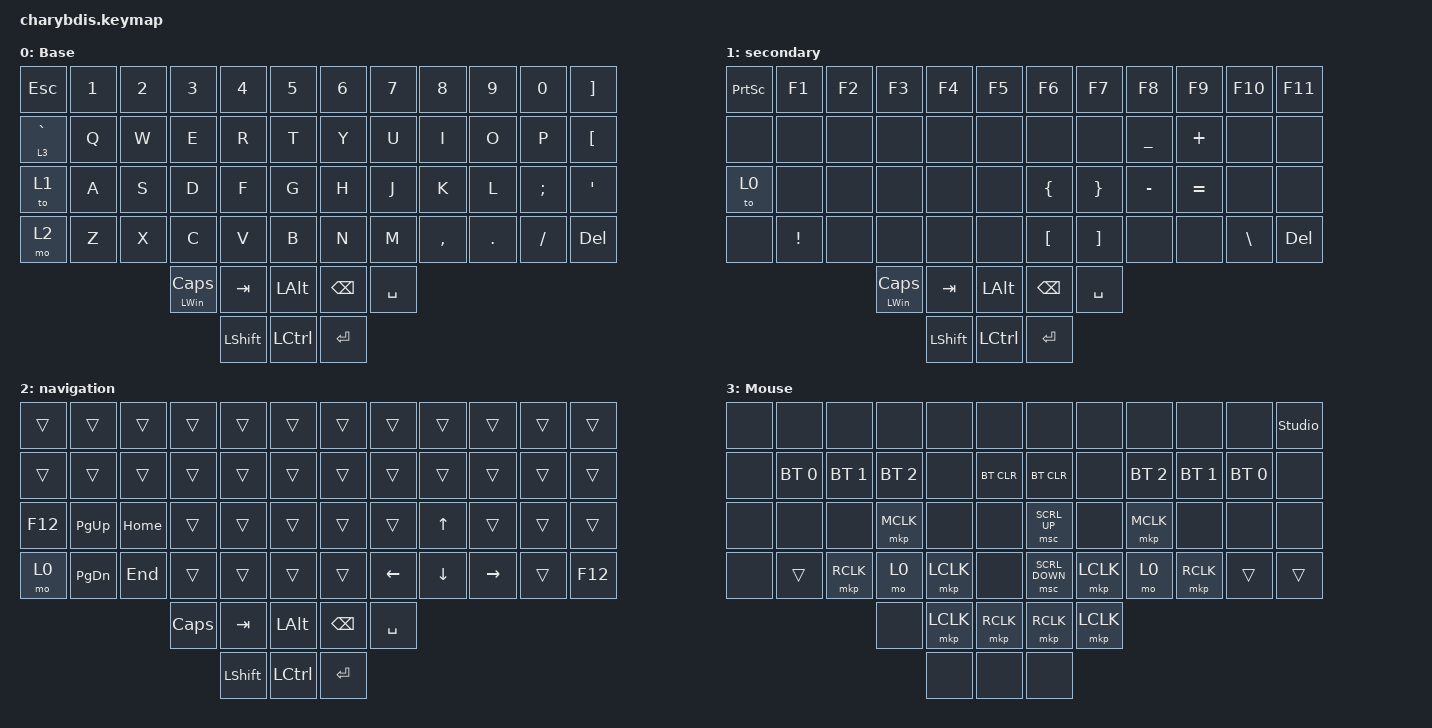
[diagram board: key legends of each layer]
#include <dt-bindings/zmk/mouse.h>
#include <behaviors.dtsi>
#include <dt-bindings/zmk/bt.h>
#include <dt-bindings/zmk/keys.h>
#include <dt-bindings/zmk/pointing.h>

&lt {
    tapping-term-ms = <200>;
    flavor = "balanced";
    quick-tap-ms = <150>;
};

/ {
    combos { compatible = "zmk,combos"; };

    keymap {
        compatible = "zmk,keymap";

        Base {
            bindings = <
&kp ESCAPE   &kp N1  &kp N2  &kp N3             &kp N4          &kp N5          &kp N6         &kp N7     &kp N8     &kp N9   &kp N0     &kp RIGHT_BRACKET
&lt 3 GRAVE  &kp Q   &kp W   &kp E              &kp R           &kp T           &kp Y          &kp U      &kp I      &kp O    &kp P      &kp LEFT_BRACKET
&to 1        &kp A   &kp S   &kp D              &kp F           &kp G           &kp H          &kp J      &kp K      &kp L    &kp SEMI   &kp APOS
&mo 2        &kp Z   &kp X   &kp C              &kp V           &kp B           &kp N          &kp M      &kp COMMA  &kp DOT  &kp SLASH  &kp DELETE
                             &mt LEFT_WIN CAPS  &kp TAB         &kp LEFT_ALT    &kp BACKSPACE  &kp SPACE
                                                &kp LEFT_SHIFT  &kp LCTRL       &kp ENTER
            >;
        };

        secondary {
            bindings = <
&kp PRINTSCREEN  &kp F1    &kp F2  &kp F3             &kp F4     &kp F5          &kp F6            &kp F7             &kp F8          &kp F9     &kp F10        &kp F11
&none            &none     &none   &none              &none      &none           &none             &none              &kp UNDERSCORE  &kp PLUS   &none          &none
&to 0            &none     &none   &none              &none      &none           &kp LEFT_BRACE    &kp RIGHT_BRACE    &kp MINUS       &kp EQUAL  &none          &none
&none            &kp EXCL  &none   &none              &none      &none           &kp LEFT_BRACKET  &kp RIGHT_BRACKET  &none           &none      &kp BACKSLASH  &kp DELETE
                                   &mt LEFT_WIN CAPS  &kp TAB    &kp LEFT_ALT    &kp BACKSPACE     &kp SPACE
                                                      &kp LSHFT  &kp LCTRL       &kp ENTER
            >;
        };

        navigation {
            bindings = <
&trans   &trans         &trans    &trans    &trans     &trans       &trans         &trans     &trans    &trans     &trans  &trans
&trans   &trans         &trans    &trans    &trans     &trans       &trans         &trans     &trans    &trans     &trans  &trans
&kp F12  &kp PAGE_UP    &kp HOME  &trans    &trans     &trans       &trans         &trans     &kp UP    &trans     &trans  &trans
&mo 0    &kp PAGE_DOWN  &kp END   &trans    &trans     &trans       &trans         &kp LEFT   &kp DOWN  &kp RIGHT  &trans  &kp F12
                                  &kp CAPS  &kp TAB    &kp LALT     &kp BACKSPACE  &kp SPACE
                                            &kp LSHFT  &kp LCTRL    &kp ENTER
            >;
        };

        Mouse {
            bindings = <
&none  &none         &none         &none         &none      &none         &none           &none      &none         &none         &none         &studio_unlock
&none  &bt BT_SEL 0  &bt BT_SEL 1  &bt BT_SEL 2  &none      &bt BT_CLR    &bt BT_CLR      &none      &bt BT_SEL 2  &bt BT_SEL 1  &bt BT_SEL 0  &none
&none  &none         &none         &mkp MCLK     &none      &none         &msc SCRL_UP    &none      &mkp MCLK     &none         &none         &none
&none  &trans        &mkp RCLK     &mo 0         &mkp LCLK  &none         &msc SCRL_DOWN  &mkp LCLK  &mo 0         &mkp RCLK     &trans        &trans
                                   &none         &mkp LCLK  &mkp RCLK     &mkp RCLK       &mkp LCLK
                                                 &none      &none         &none
            >;
        };
    };
};
